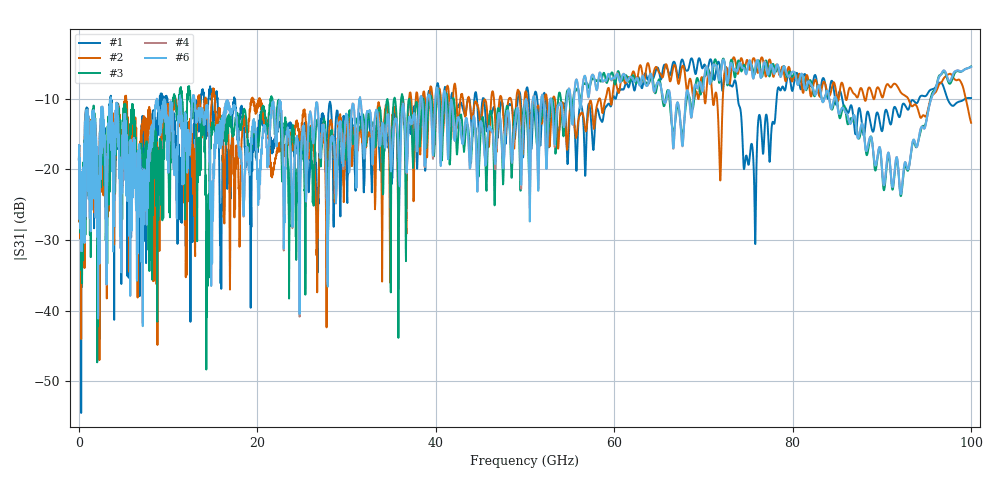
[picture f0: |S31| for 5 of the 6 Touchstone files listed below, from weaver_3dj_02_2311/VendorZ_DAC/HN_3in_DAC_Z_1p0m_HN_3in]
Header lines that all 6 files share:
# GHz S RI R 45
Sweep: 25 MHz to 100 GHz
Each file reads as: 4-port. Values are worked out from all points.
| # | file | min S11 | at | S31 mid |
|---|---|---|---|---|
| 1 | HN_3in_DAC_Z_1p0m_HN_3in_FEXT_TP0_Tx5_to_TP5_Rx7.s4p | -50.5 dB | 1.45 GHz | -10.8 dB at 50.02 GHz |
| 2 | HN_3in_DAC_Z_1p0m_HN_3in_FEXT_TP0_Tx6_to_TP5_Rx7.s4p | -47.2 dB | 8.675 GHz | -9.1 dB at 50.02 GHz |
| 3 | HN_3in_DAC_Z_1p0m_HN_3in_FEXT_TP0_Tx8_to_TP5_Rx7.s4p | -52.5 dB | 2.175 GHz | -11.2 dB at 50.02 GHz |
| 4 | HN_3in_DAC_Z_1p0m_HN_3in_NEXT_TP0_Tx7_to_TP5_Rx7.s4p | -49.4 dB | 1.125 GHz | -10.3 dB at 50.02 GHz |
| 5 | HN_3in_DAC_Z_1p0m_HN_3in_NEXT_TP0_Tx8_to_TP5_Tx7.s4p | -52.5 dB | 2.175 GHz | -11.2 dB at 50.02 GHz |
| 6 | HN_3in_DAC_Z_1p0m_HN_3in_thru_TP0_Tx7_to_TP5_Rx7.s4p | -49.4 dB | 1.125 GHz | -10.4 dB at 50.02 GHz |
